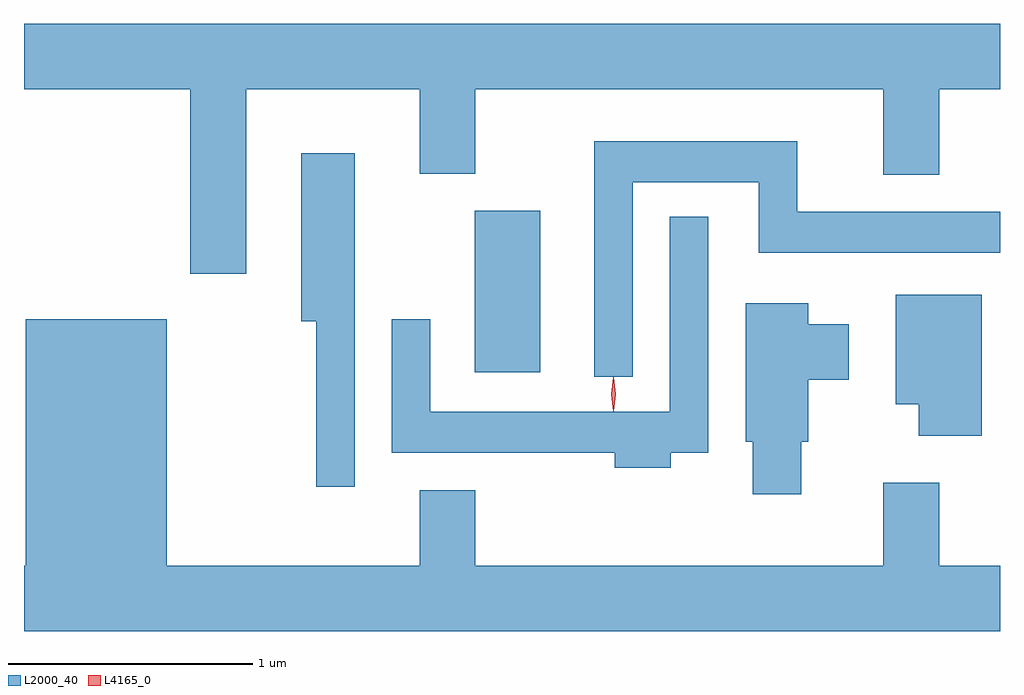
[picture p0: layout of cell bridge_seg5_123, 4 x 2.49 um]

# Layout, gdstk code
import gdstk
lib = gdstk.Library(unit=1e-6, precision=1e-09)
def R(c, l, rs):  # rectangles x0, y0, x1, y1
    for r in rs: c.add(gdstk.rectangle(r[:2], r[2:], *l))
def P(c, l, *ps):  # polygons
    for p in ps: c.add(gdstk.Polygon(p, *l))
L2000_40 = (2000, 40)
L4165_0 = (4165, 0)

bridge_seg5_123 = lib.new_cell('bridge_seg5_123')
R(bridge_seg5_123, L2000_40, [(1216.856,1420.116,1217.124,1420.779)])
P(bridge_seg5_123, L2000_40, [(1215.919,1421.276),(1216.631,1421.276),(1216.631,1420.931),(1216.859,1420.931),(1216.859,1421.276),(1218.531,1421.276),(1218.531,1420.926),(1218.759,1420.926),(1218.759,1421.276),(1219.009,1421.276),(1219.009,1421.544),(1215.009,1421.544),(1215.009,1421.276),(1215.691,1421.276),(1215.691,1420.521),(1215.919,1420.521)],
  [(1217.504,1420.896),(1218.021,1420.896),(1218.021,1420.606),(1219.009,1420.606),(1219.009,1420.774),(1218.179,1420.774),(1218.179,1421.064),(1217.346,1421.064),(1217.346,1420.098),(1217.504,1420.098)],
  [(1216.364,1421.014),(1216.146,1421.014),(1216.146,1420.326),(1216.206,1420.326),(1216.206,1419.648),(1216.364,1419.648)],
  [(1217.659,1419.786),(1217.814,1419.786),(1217.814,1420.753),(1217.656,1420.753),(1217.656,1419.954),(1216.674,1419.954),(1216.674,1420.333),(1216.516,1420.333),(1216.516,1419.786),(1217.431,1419.786),(1217.431,1419.726),(1217.659,1419.726)],
  [(1218.934,1420.434),(1218.581,1420.434),(1218.581,1419.986),(1218.676,1419.986),(1218.676,1419.856),(1218.934,1419.856)],
  [(1218.194,1419.831),(1218.224,1419.831),(1218.224,1420.086),(1218.389,1420.086),(1218.389,1420.314),(1218.224,1420.314),(1218.224,1420.399),(1217.966,1420.399),(1217.966,1419.831),(1217.996,1419.831),(1217.996,1419.616),(1218.194,1419.616)],
  [(1219.009,1419.324),(1218.759,1419.324),(1218.759,1419.664),(1218.531,1419.664),(1218.531,1419.324),(1216.859,1419.324),(1216.859,1419.634),(1216.631,1419.634),(1216.631,1419.324),(1215.594,1419.324),(1215.594,1420.334),(1215.016,1420.334),(1215.016,1419.324),(1215.009,1419.324),(1215.009,1419.056),(1219.009,1419.056)])
P(bridge_seg5_123, L4165_0, [(1217.425,1419.959),(1217.424,1419.96),(1217.415,1420.026),(1217.424,1420.092),(1217.425,1420.093),(1217.425,1420.092),(1217.435,1420.026),(1217.425,1419.96)],
  [(1217.424,1419.957),(1217.415,1420.026),(1217.424,1420.096),(1217.425,1420.096),(1217.426,1420.096),(1217.435,1420.026),(1217.426,1419.957),(1217.425,1419.957)])

lib.write_gds('bridge_seg5_123.gds')
